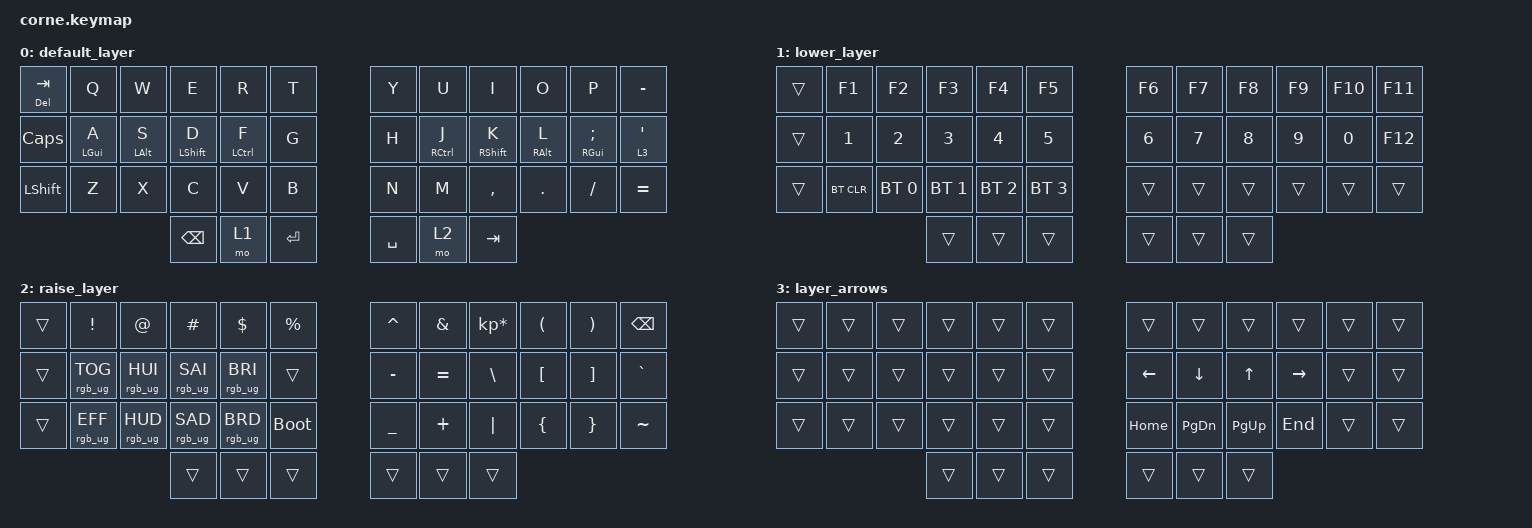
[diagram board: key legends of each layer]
/*
 * Copyright (c) 2020 The ZMK Contributors
 *
 * SPDX-License-Identifier: MIT
 */

#include <behaviors.dtsi>
#include <dt-bindings/zmk/bt.h>
#include <dt-bindings/zmk/keys.h>
#include <dt-bindings/zmk/rgb.h>

&led_strip { chain-length = <27>; };

/ {
    combos {
        compatible = "zmk,combos";

        Esc {
            bindings = <&kp ESC>;
            key-positions = <1 2>;
        };
    };

    keymap {
        compatible = "zmk,keymap";

        default_layer {
            // -----------------------------------------------------------------------------------------
            // |  TAB |  Q  |  W  |  E  |  R  |  T  |   |  Y  |  U   |  I  |  O  |  P  | BKSP |
            // | CTRL |  A  |  S  |  D  |  F  |  G  |   |  H  |  J   |  K  |  L  |  ;  |  '   |
            // | SHFT |  Z  |  X  |  C  |  V  |  B  |   |  N  |  M   |  ,  |  .  |  /  | SHFT |
            //                    | GUI | LWR | ENT |   | SPC | RSE  | ALT |

            bindings = <
&mt DEL TAB  &kp Q           &kp W           &kp E             &kp R               &kp T         &kp Y      &kp U                &kp I              &kp O            &kp P               &kp MINUS
&kp CAPS     &mt LEFT_GUI A  &mt LEFT_ALT S  &mt LEFT_SHIFT D  &mt LEFT_CONTROL F  &kp G         &kp H      &mt RIGHT_CONTROL J  &mt RIGHT_SHIFT K  &mt RIGHT_ALT L  &mt RIGHT_GUI SEMI  &lt 3 SQT
&kp LSHFT    &kp Z           &kp X           &kp C             &kp V               &kp B         &kp N      &kp M                &kp COMMA          &kp DOT          &kp FSLH            &kp EQUAL
                                             &kp BACKSPACE     &mo 1               &kp RETURN    &kp SPACE  &mo 2                &kp TAB
            >;
        };

        lower_layer {
            // -----------------------------------------------------------------------------------------
            // |  TAB |  1    |  2  |  3  |  4  |  5  |   |  6  |  7  |  8  |  9  |  0  | BKSP |
            // | LCTRL| BTCLR | BT0 | BT1 | BT2 | BT3 |   | LFT | DWN |  UP | RGT |     |      |
            // | ESC  |       | HOME| PGUP| PGDN| END |   |     |     |     |     |     |      |
            //                      | GUI |     | SPC |   | ENT |     | ALT |

            bindings = <
&trans  &kp F1      &kp F2        &kp F3        &kp F4        &kp F5          &kp F6  &kp F7  &kp F8  &kp F9  &kp F10  &kp F11
&trans  &kp N1      &kp N2        &kp N3        &kp N4        &kp N5          &kp N6  &kp N7  &kp N8  &kp N9  &kp N0   &kp F12
&trans  &bt BT_CLR  &bt BT_SEL 0  &bt BT_SEL 1  &bt BT_SEL 2  &bt BT_SEL 3    &trans  &trans  &trans  &trans  &trans   &trans
                                  &trans        &trans        &trans          &trans  &trans  &trans
            >;
        };

        raise_layer {
            // -----------------------------------------------------------------------------------------
            // |  TAB |   !   |   @   |   #   |   $   |   %   |   |  ^  |  &  |  *  |  (  |  )  | BKSP |
            // | CTRL |RGB_TOG|RGB_HUI|RGB_SAI|RGB_VAI|       |   |  -  |  =  |  [  |  ]  |  \  |  `   |
            // | SHFT |RGB_MOD|RGB_HUD|RGB_SAD|RGB_VAD|QK_BOOT|   |  _  |  +  |  {  |  }  | "|" |  ~   |
            //                            | GUI |     |  SPC  |   | ENT |     | ALT |

            bindings = <
&trans  &kp EXCL         &kp AT           &kp HASH         &kp DLLR         &kp PRCNT      &kp CARET  &kp AMPS   &kp KP_MULTIPLY  &kp LPAR          &kp RPAR           &kp BSPC
&trans  &rgb_ug RGB_TOG  &rgb_ug RGB_HUI  &rgb_ug RGB_SAI  &rgb_ug RGB_BRI  &trans         &kp MINUS  &kp EQUAL  &kp BACKSLASH    &kp LEFT_BRACKET  &kp RIGHT_BRACKET  &kp GRAVE
&trans  &rgb_ug RGB_EFF  &rgb_ug RGB_HUD  &rgb_ug RGB_SAD  &rgb_ug RGB_BRD  &bootloader    &kp UNDER  &kp PLUS   &kp PIPE         &kp LEFT_BRACE    &kp RIGHT_BRACE    &kp TILDE
                                          &trans           &trans           &trans         &trans     &trans     &trans
            >;
        };

        layer_arrows {
            bindings = <
&trans  &trans  &trans  &trans  &trans  &trans    &trans    &trans     &trans     &trans     &trans  &trans
&trans  &trans  &trans  &trans  &trans  &trans    &kp LEFT  &kp DOWN   &kp UP     &kp RIGHT  &trans  &trans
&trans  &trans  &trans  &trans  &trans  &trans    &kp HOME  &kp PG_DN  &kp PG_UP  &kp END    &trans  &trans
                        &trans  &trans  &trans    &trans    &trans     &trans
            >;
        };
    };
};
